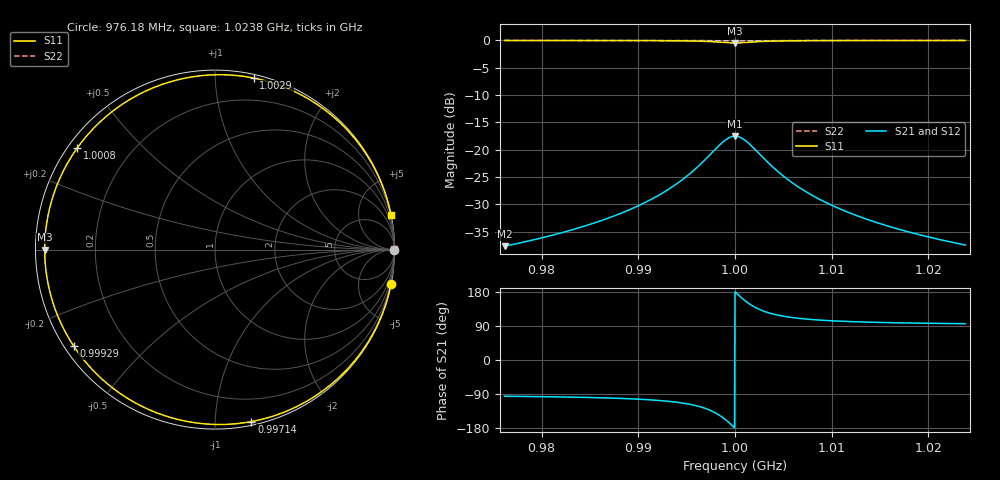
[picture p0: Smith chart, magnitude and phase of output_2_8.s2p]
! File generated for n1 = 2, n2 = 8
! b1 = 46.415888
! b2 = 0.215443
! Q0 = 10000.000000
! f0 = 1000000000.000000
! n = 1001
! rel_span = 10.000000
# Hz S RI R 50
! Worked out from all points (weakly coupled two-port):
!   1001 points, 976.18 MHz to 1.0238 GHz, reference 50 ohm
!   highest |S21| = -17.54 dB at 1 GHz (marker M1); lowest = -37.7 dB at 976.18 MHz (marker M2)
!   lowest |S11| = -0.5 dB at 1 GHz (marker M3), VSWR 38.19, Z = 1.31 + j0 ohm
!   |S11| at or under -10 dB: nowhere
!   |S22| runs from -0.1 to 0.0 dB; largest |S21 - S12| = 0
!   S11 on the Smith chart (normalised r, x): 976.18 MHz: 0, -10; 997.14 MHz: 0.03, -1.23; 999.29 MHz: 0.03, -0.31; 1.0008 GHz: 0.03, +0.33; 1.0029 GHz: 0.03, +1.25; 1.0238 GHz: 0, +10
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9.761843e8  0.9812 -0.1907  -0.00128 -0.013  -0.00128 -0.013  0.9999 -0.000885
9.841388e8  0.9577 -0.284  -0.00288 -0.0193  -0.00288 -0.0193  0.9998 -0.00132
9.886637e8  0.9185 -0.3901  -0.00555 -0.0266  -0.00555 -0.0266  0.9996 -0.00181
9.920932e8  0.8391 -0.5364  -0.011 -0.0365  -0.011 -0.0365  0.9993 -0.00249
9.951416e8  0.6239 -0.7691  -0.0256 -0.0524  -0.0256 -0.0524  0.9983 -0.00357
9.962371e8  0.4441 -0.88  -0.0379 -0.06  -0.0379 -0.06  0.9974 -0.00408
9.971421e8  0.2026 -0.9583  -0.0543 -0.0653  -0.0543 -0.0653  0.9963 -0.00445
9.983329e8  -0.3073 -0.9159  -0.0891 -0.0624  -0.0891 -0.0624  0.9939 -0.00425
9.988092e8  -0.5588 -0.7799  -0.1062 -0.0531  -0.1062 -0.0531  0.9928 -0.00362
9.992855e8  -0.7879 -0.5366  -0.1218 -0.0366  -0.1218 -0.0366  0.9917 -0.00249
1e9  -0.949 0  -0.1328 0  -0.1328 0  0.991 0
1.000381e9  -0.9003 0.304  -0.1295 0.0207  -0.1295 0.0207  0.9912 0.00141
1.000762e9  -0.7681 0.5656  -0.1205 0.0385  -0.1205 0.0385  0.9918 0.00263
1.001191e9  -0.5595 0.7793  -0.1063 0.0531  -0.1063 0.0531  0.9928 0.00362
1.001667e9  -0.3087 0.9154  -0.0892 0.0624  -0.0892 0.0624  0.9939 0.00425
1.002191e9  -0.0566 0.971  -0.072 0.0662  -0.072 0.0662  0.9951 0.00451
1.002906e9  0.2154 0.9558  -0.0535 0.0651  -0.0535 0.0651  0.9964 0.00444
1.003811e9  0.451 0.8767  -0.0374 0.0597  -0.0374 0.0597  0.9975 0.00407
1.004906e9  0.6268 0.7668  -0.0254 0.0522  -0.0254 0.0522  0.9983 0.00356
1.007954e9  0.8385 0.5373  -0.011 0.0366  -0.011 0.0366  0.9993 0.00249
1.015909e9  0.9566 0.2875  -0.00296 0.0196  -0.00296 0.0196  0.9998 0.00133
1.023816e9  0.9803 0.1952  -0.00135 0.0133  -0.00135 0.0133  0.9999 0.000906
